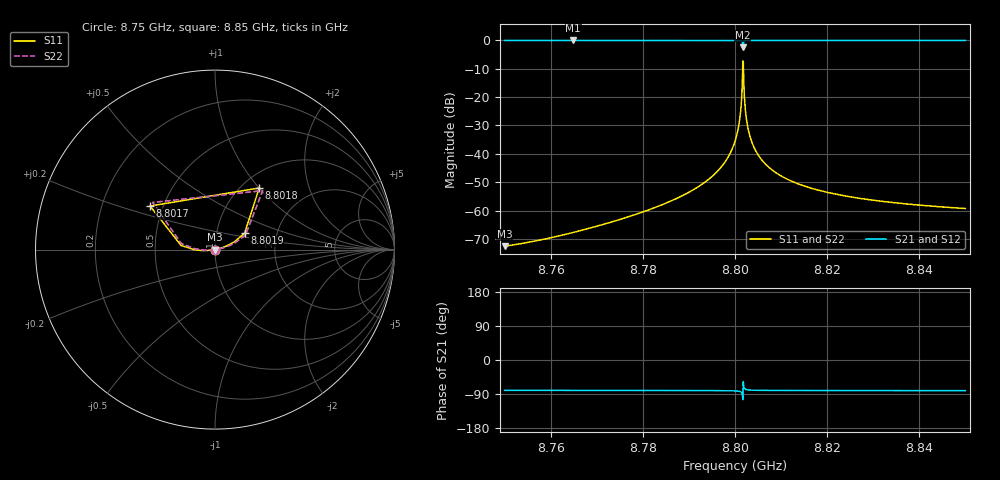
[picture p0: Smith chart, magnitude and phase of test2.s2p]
! Sonnet Data File
! From: emgraph Version : 16.52
! From Emgraph Data: Qubit_Test_beforeopt
! Data File Written: 10/17/2017 17:27:26
!< HDATE 10/17/2017 16:56:33
!< MDATE 10/17/2017 16:56:33
!< PARAMS
!< Lj = 11.0
!< Gap = 20.0
!< Pwid = 2000.0
!< Airgap = 6.000000259
!< Width = 10.0
!< Airgap_1 = 6.000061273
!< END PARAMS
# GHZ S MA R 51.80000
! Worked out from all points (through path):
!   1001 points, 8.75 GHz to 8.85 GHz, reference 51.8 ohm
!   highest |S21| = 0.00 dB at 8.7649 GHz (marker M1); lowest = -2.4 dB at 8.8017 GHz (marker M2)
!   lowest |S11| = -72.6 dB at 8.75 GHz (marker M3), VSWR 1.00, Z = 51.8 + j0.0177 ohm
!   |S11| at or under -10 dB: start of sweep to 8.8017 GHz; 8.8018 GHz to end of sweep
!   |S22| runs from -72.7 to -7.2 dB; largest |S21 - S12| = 0
!   S11 on the Smith chart (normalised r, x): 8.75 GHz: 1.00, +0.00; 8.8017 GHz: 0.42, +0.25; 8.8018 GHz: 1.20, +1.00; 8.8019 GHz: 1.37, +0.26; 8.85 GHz: 1.00, +0.00
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8.75  0.0002352 133.6  1 -80.1  1 -80.1  0.0002313 -114.4
!< P1 F=8.75 Eeff=(6.44671347 -3.0537e-5) Z0=(51.7984997 1.14031e-4) R=0.03698389 C=0.00303725
!< P2 F=8.75 Eeff=(6.44671347 -3.0537e-5) Z0=(51.7984997 1.14031e-4) R=0.03698389 C=0.00303725
8.7649  0.0004107 162.2  1 -80.2  1 -80.2  0.0004084 -143.3
8.7667  0.0004476 164.8  1 -80.2  1 -80.2  0.0004454 -145.9
8.7834  0.001193 -178.6  1 -80.4  1 -80.4  0.001192 -162.7
8.7948  0.003852 -172.2  1 -80.7  1 -80.7  0.00385 -169.6
8.798  0.007517 -171.1  0.9999 -80.9  0.9999 -80.9  0.007515 -171.4
8.8  0.01662 -171.2  0.9997 -81.5  0.9997 -81.5  0.01662 -173.1
8.8008  0.03099 -172.2  0.9989 -82.3  0.9989 -82.3  0.03098 -174.7
8.8012  0.05378 -174.2  0.9967 -83.6  0.9967 -83.6  0.05377 -177.0
8.8014  0.08442 -176.9  0.9919 -85.4  0.9919 -85.4  0.0844 -179.9
8.8017  0.4355 146.1  0.7578 -104.5  0.7578 -104.5  0.4354 142.9
8.8018  0.4226 54.3  0.7745 -57.1  0.7745 -57.1  0.4225 51.0
8.8019  0.1881 28.9  0.9596 -69.8  0.9596 -69.8  0.1881 25.5
8.8022  0.0662 17.4  0.9951 -76.8  0.9951 -76.8  0.06618 13.8
8.8026  0.03546 14.7  0.9986 -78.5  0.9986 -78.5  0.03545 10.8
8.8031  0.02253 13.6  0.9994 -79.3  0.9994 -79.3  0.02252 9.4
8.8041  0.01315 13.1  0.9998 -79.8  0.9998 -79.8  0.01314 8.1
8.8054  0.008628 13.2  0.9999 -80.1  0.9999 -80.1  0.008626 7.3
8.8097  0.00421 14.1  1 -80.4  1 -80.4  0.004209 5.4
8.8167  0.002455 15.9  1 -80.5  1 -80.5  0.002454 3.3
8.8334  0.001407 19.2  1 -80.8  1 -80.8  0.001406 -0.5
8.85  0.001086 21.5  1 -80.9  1 -80.9  0.001085 -3.1
